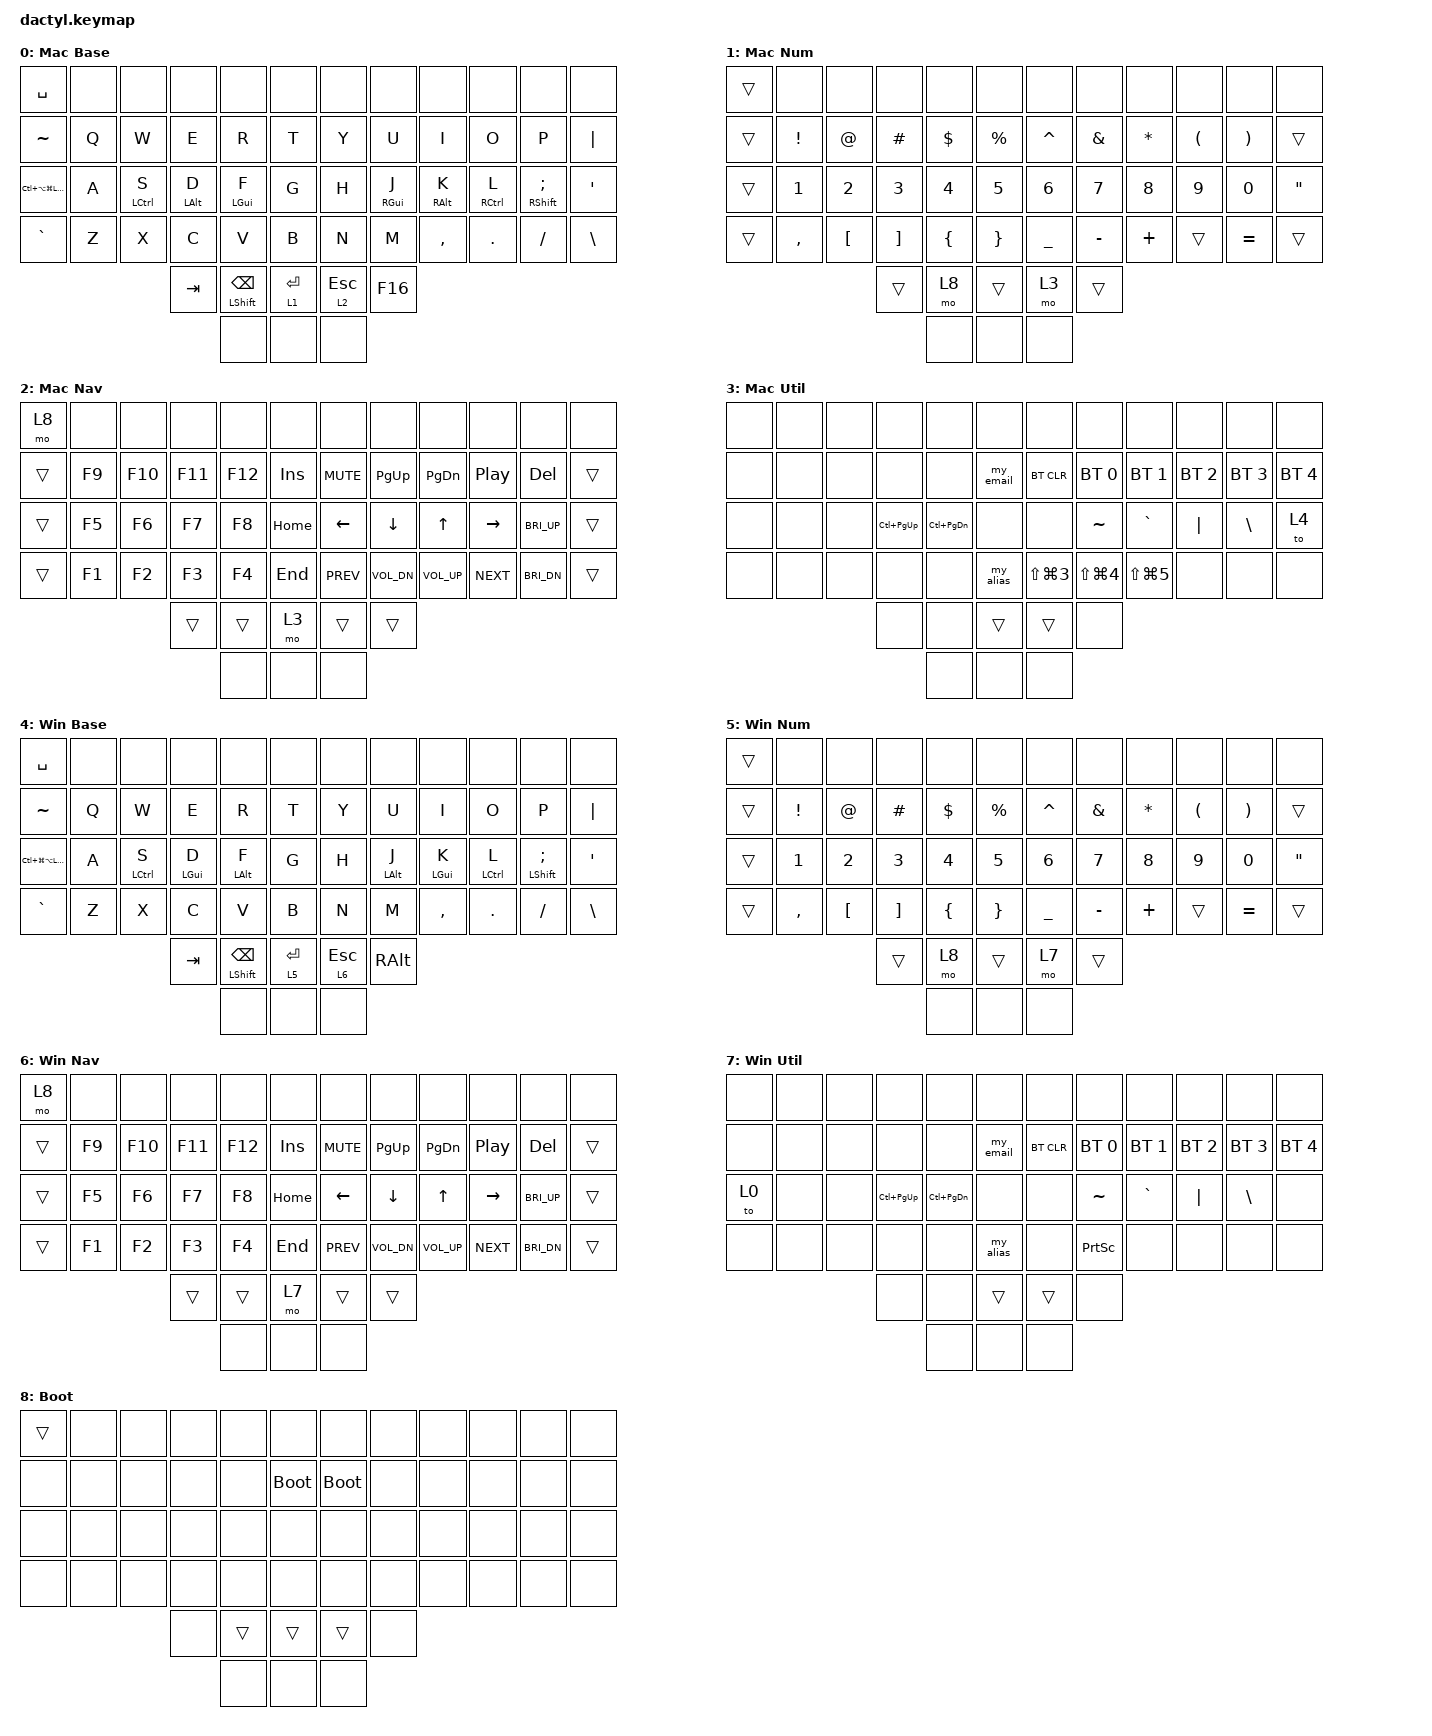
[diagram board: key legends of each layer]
/*
 * Copyright (c) 2020 The ZMK Contributors
 *
 * SPDX-License-Identifier: MIT
 */

#include <behaviors.dtsi>
#include <dt-bindings/zmk/bt.h>
#include <dt-bindings/zmk/keys.h>

&lt {
    quick-tap-ms = <200>;
    flavor = "hold-preferred";
};

&mt { quick-tap-ms = <200>; };

/ {
    combos {
        compatible = "zmk,combos";

        less_then {
            bindings = <&kp LESS_THAN>;
            key-positions = <43 44>;
            timeout-ms = <50>;
            layers = <0 1 4 5>;
        };

        greater_then {
            bindings = <&kp GREATER_THAN>;
            key-positions = <44 45>;
            timeout-ms = <50>;
            layers = <0 1 4 5>;
        };

        mac_undo {
            bindings = <&kp LG(Z)>;
            key-positions = <37 38>;
            timeout-ms = <50>;
            layers = <0>;
        };

        mac_cut {
            bindings = <&kp LG(X)>;
            key-positions = <38 40>;
            timeout-ms = <50>;
            layers = <0>;
        };

        mac_copy {
            bindings = <&kp LG(C)>;
            key-positions = <38 39>;
            timeout-ms = <50>;
            layers = <0>;
        };

        mac_paste {
            bindings = <&kp LG(V)>;
            key-positions = <39 40>;
            timeout-ms = <50>;
            layers = <0>;
        };

        win_undo {
            bindings = <&kp LC(Z)>;
            key-positions = <37 38>;
            timeout-ms = <50>;
            layers = <4>;
        };

        win_copy {
            bindings = <&kp LC(C)>;
            key-positions = <38 39>;
            timeout-ms = <50>;
            layers = <4>;
        };

        win_paste {
            bindings = <&kp LC(V)>;
            key-positions = <39 40>;
            timeout-ms = <50>;
            layers = <4>;
        };
    };

    macros {
        my_email: my_email {
            compatible = "zmk,behavior-macro";
            #binding-cells = <0>;
            bindings = <&kp B &kp L &kp A &kp C &kp K &kp E &kp A &kp G &kp L &kp E &kp N1 &kp N0 &kp AT &kp I &kp C &kp L &kp O &kp U &kp D &kp DOT &kp C &kp O &kp M>;
            label = "MY_EMAIL";
        };

        my_alias: my_alias {
            compatible = "zmk,behavior-macro";
            #binding-cells = <0>;
            bindings = <&kp LS(U) &kp N &kp LS(E) &kp M &kp O &kp T &kp I &kp O &kp N &kp E &kp LS(D)>;
            label = "MY_ALIAS";
        };
    };

    behaviors {
        hrm_l: hrm_l {
            compatible = "zmk,behavior-hold-tap";
            label = "HRM_L";
            bindings = <&kp>, <&kp>;

            #binding-cells = <2>;
            tapping-term-ms = <200>;
            quick-tap-ms = <200>;
            flavor = "tap-preferred";
            hold-trigger-key-positions = <0 18 19 20 21 22 23 26 27 28 30 31 32 33 34 35 42 43 44 45 46 47 48 49 50 51 52>;
        };

        hrm_r: hrm_r {
            compatible = "zmk,behavior-hold-tap";
            label = "HRM_R";
            bindings = <&kp>, <&kp>;

            #binding-cells = <2>;
            tapping-term-ms = <200>;
            quick-tap-ms = <200>;
            flavor = "tap-preferred";
            hold-trigger-key-positions = <0 12 13 14 15 16 17 24 25 26 27 28 29 31 32 33 34 36 37 38 39 40 41 48 49 50 51 52>;
        };
    };

    keymap {
        compatible = "zmk,keymap";

        mac_base {
            display-name="Mac Base";
            bindings = <
&kp SPACE              &none  &none           &none          &none           &none          &none      &none          &none          &none           &none              &none
&kp TILDE              &kp Q  &kp W           &kp E          &kp R           &kp T          &kp Y      &kp U          &kp I          &kp O           &kp P              &kp PIPE
&kp LC(LA(LG(LSHFT)))  &kp A  &hrm_l LCTRL S  &hrm_l LALT D  &hrm_l LGUI F   &kp G          &kp H      &hrm_r RGUI J  &hrm_r RALT K  &hrm_r RCTRL L  &hrm_r RSHFT SEMI  &kp SQT
&kp GRAVE              &kp Z  &kp X           &kp C          &kp V           &kp B          &kp N      &kp M          &kp COMMA      &kp DOT         &kp SLASH          &kp BSLH
                                              &kp TAB        &mt LSHFT BSPC  &lt 1 ENTER    &lt 2 ESC  &kp F16
                                                             &none           &none          &none
            >;
        };

        mac_num {
            display-name="Mac Num";
            bindings = <
&trans  &none      &none     &none     &none     &none        &none      &none      &none      &none     &none      &none
&trans  &kp EXCL   &kp AT    &kp HASH  &kp DLLR  &kp PRCNT    &kp CARET  &kp AMPS   &kp ASTRK  &kp LPAR  &kp RPAR   &trans
&trans  &kp N1     &kp N2    &kp N3    &kp N4    &kp N5       &kp N6     &kp N7     &kp N8     &kp N9    &kp N0     &kp DQT
&trans  &kp COMMA  &kp LBKT  &kp RBKT  &kp LBRC  &kp RBRC     &kp UNDER  &kp MINUS  &kp PLUS   &trans    &kp EQUAL  &trans
                             &trans    &mo 8     &trans       &mo 3      &trans
                                       &none     &none        &none
            >;
        };

        mac_nav {
            display-name="Mac Nav";
            bindings = <
&mo 8   &none   &none    &none    &none    &none       &none       &none         &none         &none             &none         &none
&trans  &kp F9  &kp F10  &kp F11  &kp F12  &kp INS     &kp C_MUTE  &kp PG_UP     &kp PG_DN     &kp C_PLAY_PAUSE  &kp DEL       &trans
&trans  &kp F5  &kp F6   &kp F7   &kp F8   &kp HOME    &kp LEFT    &kp DOWN      &kp UP        &kp RIGHT         &kp C_BRI_UP  &trans
&trans  &kp F1  &kp F2   &kp F3   &kp F4   &kp END     &kp C_PREV  &kp C_VOL_DN  &kp C_VOL_UP  &kp C_NEXT        &kp C_BRI_DN  &trans
                         &trans   &trans   &mo 3       &trans      &trans
                                  &none    &none       &none
            >;
        };

        mac_util {
            display-name="Mac Util";
            bindings = <
&none  &none  &none  &none          &none          &none        &none                 &none                 &none           &none         &none         &none
&none  &none  &none  &none          &none          &my_email    &bt BT_CLR            &bt BT_SEL 0          &bt BT_SEL 1    &bt BT_SEL 2  &bt BT_SEL 3  &bt BT_SEL 4
&none  &none  &none  &kp LC(PG_UP)  &kp LC(PG_DN)  &none        &none                 &kp TILDE             &kp GRAVE       &kp PIPE      &kp BSLH      &to 4
&none  &none  &none  &none          &none          &my_alias    &kp LS(LG(NUMBER_3))  &kp LS(LG(NUMBER_4))  &kp LS(LG(N5))  &none         &none         &none
                     &none          &none          &trans       &trans                &none
                                    &none          &none        &none
            >;
        };

        win_base {
            display-name="Win Base";
            bindings = <
&kp SPACE              &none  &none           &none          &none           &none          &none      &none          &none          &none           &none              &none
&kp TILDE              &kp Q  &kp W           &kp E          &kp R           &kp T          &kp Y      &kp U          &kp I          &kp O           &kp P              &kp PIPE
&kp LC(LG(LA(LSHFT)))  &kp A  &hrm_l LCTRL S  &hrm_l LGUI D  &hrm_l LALT F   &kp G          &kp H      &hrm_r LALT J  &hrm_r LGUI K  &hrm_r LCTRL L  &hrm_r LSHFT SEMI  &kp SQT
&kp GRAVE              &kp Z  &kp X           &kp C          &kp V           &kp B          &kp N      &kp M          &kp COMMA      &kp DOT         &kp SLASH          &kp BSLH
                                              &kp TAB        &mt LSHFT BSPC  &lt 5 ENTER    &lt 6 ESC  &kp RIGHT_ALT
                                                             &none           &none          &none
            >;
        };

        win_num {
            display-name="Win Num";
            bindings = <
&trans  &none      &none     &none              &none     &none        &none      &none      &none      &none     &none      &none
&trans  &kp EXCL   &kp AT    &kp HASH           &kp DLLR  &kp PRCNT    &kp CARET  &kp AMPS   &kp ASTRK  &kp LPAR  &kp RPAR   &trans
&trans  &kp N1     &kp N2    &kp N3             &kp N4    &kp N5       &kp N6     &kp N7     &kp N8     &kp N9    &kp N0     &kp DQT
&trans  &kp COMMA  &kp LBKT  &kp RIGHT_BRACKET  &kp LBRC  &kp RBRC     &kp UNDER  &kp MINUS  &kp PLUS   &trans    &kp EQUAL  &trans
                             &trans             &mo 8     &trans       &mo 7      &trans
                                                &none     &none        &none
            >;
        };

        win_nav {
            display-name="Win Nav";
            bindings = <
&mo 8   &none   &none    &none    &none    &none       &none       &none         &none         &none             &none         &none
&trans  &kp F9  &kp F10  &kp F11  &kp F12  &kp INS     &kp C_MUTE  &kp PG_UP     &kp PG_DN     &kp C_PLAY_PAUSE  &kp DEL       &trans
&trans  &kp F5  &kp F6   &kp F7   &kp F8   &kp HOME    &kp LEFT    &kp DOWN      &kp UP        &kp RIGHT         &kp C_BRI_UP  &trans
&trans  &kp F1  &kp F2   &kp F3   &kp F4   &kp END     &kp C_PREV  &kp C_VOL_DN  &kp C_VOL_UP  &kp C_NEXT        &kp C_BRI_DN  &trans
                         &trans   &trans   &mo 7       &trans      &trans
                                  &none    &none       &none
            >;
        };

        win_util {
            display-name="Win Util";
            bindings = <
&none  &none  &none  &none          &none          &none        &none       &none         &none         &none         &none         &none
&none  &none  &none  &none          &none          &my_email    &bt BT_CLR  &bt BT_SEL 0  &bt BT_SEL 1  &bt BT_SEL 2  &bt BT_SEL 3  &bt BT_SEL 4
&to 0  &none  &none  &kp LC(PG_UP)  &kp LC(PG_DN)  &none        &none       &kp TILDE     &kp GRAVE     &kp PIPE      &kp BSLH      &none
&none  &none  &none  &none          &none          &my_alias    &none       &kp PSCRN     &none         &none         &none         &none
                     &none          &none          &trans       &trans      &none
                                    &none          &none        &none
            >;
        };

        boot {
            display-name="Boot";
            bindings = <
&trans  &none  &none  &none  &none   &none          &none        &none  &none  &none  &none  &none
&none   &none  &none  &none  &none   &bootloader    &bootloader  &none  &none  &none  &none  &none
&none   &none  &none  &none  &none   &none          &none        &none  &none  &none  &none  &none
&none   &none  &none  &none  &none   &none          &none        &none  &none  &none  &none  &none
                      &none  &trans  &trans         &trans       &none
                             &none   &none          &none
            >;
        };
    };
};

